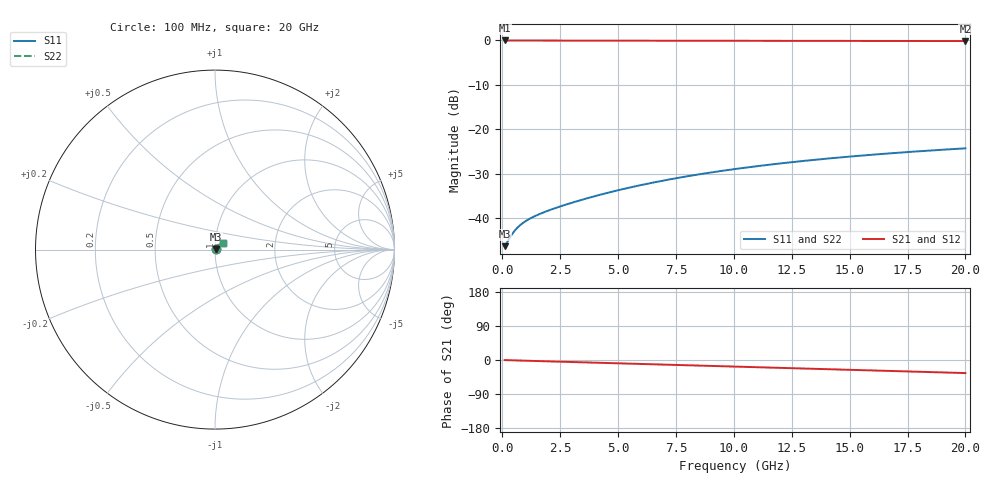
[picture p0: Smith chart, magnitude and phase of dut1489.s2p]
! Touchstone file exported from HFSS 2026.1.0
!  File:  C:/ffzhzh/LocalFiles/Ansys_Project_Files/temp_train_TMRDL_1489_1783167825_18472.aedt
!  Generated:  08:24:56 PM Jul  4, 2026
!  Design:  TMRDL
!  Project:  temp_train_TMRDL_1489_1783167825_18472
! Variables:
!  h_bsmrdl = 2um
!  h_ox = 20um
!  h_rdl = 5um
!  h_sub = 80um
!  h_tmrdl = 2.05um
!  h_tsv = 80um
!  h_via = 3um
!  l_bsmrdl = 300um
!  l_sub = 1002.53um
!  l_tmrdl = 602.53um
!  m_sub = 200um
!  pitch = 28.18um
!  r_tsv = 6um
!  s_tmrdl = 10um
!  w_bsmrdl = 18um
!  w_sub = 500um
!  w_tmrdl = 23.9um
!  x_tsv_center1 = 614.48um
!  x_tsv_center2 = 932.48um
!  x_tsv_center3 = 1558.91um
!  x_tsv_center4 = 1876.91um
!  x_tsv_center5 = 2503.34um
!  x_tsv_center6 = 2821.34um
# GHz S MA R 50.000000
! Terminal data exported
! Port[1] = TM_RDL1_1_T1
! Port[2] = TM_RDL1_1_T2
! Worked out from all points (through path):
!   200 points, 100 MHz to 20 GHz, reference 50 ohm
!   highest |S21| = -0.04 dB at 100 MHz (marker M1); lowest = -0.2 dB at 20 GHz (marker M2)
!   group delay of S21, straight-line fit = 4.78 ps
!   lowest |S11| = -46.3 dB at 100 MHz (marker M3), VSWR 1.01, Z = 50.5 + j0.0919 ohm
!   |S11| at or under -10 dB: start of sweep to end of sweep
!   |S22| runs from -46.3 to -24.3 dB; largest |S21 - S12| = 3.4e-15
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0.1  0.004818 10.9  0.9953 -0.2  0.9953 -0.2  0.004818 10.9
! Gamma 0 0 0 0
! Port Impedance 50 0 50 0
0.2  0.005268 19.4  0.995 -0.4  0.995 -0.4  0.005268 19.4
0.4  0.006447 28.4  0.9944 -0.8  0.9944 -0.8  0.006446 28.4
0.5  0.007013 30.7  0.994 -1.0  0.994 -1.0  0.007013 30.7
0.6  0.00753 32.2  0.9937 -1.2  0.9937 -1.2  0.00753 32.2
0.8  0.008428 34.2  0.9931 -1.5  0.9931 -1.5  0.008428 34.2
1.1  0.009536 36.3  0.9925 -2.0  0.9925 -2.0  0.009536 36.3
1.5  0.01077 38.8  0.9919 -2.7  0.9919 -2.7  0.01077 38.8
2  0.01215 41.7  0.9914 -3.6  0.9914 -3.6  0.01215 41.7
2.7  0.01402 45.2  0.9909 -4.8  0.9909 -4.8  0.01401 45.2
3.5  0.0162 48.4  0.9905 -6.2  0.9905 -6.2  0.01619 48.5
4.3  0.01848 50.8  0.9902 -7.6  0.9902 -7.6  0.01846 50.8
5.1  0.02082 52.3  0.9898 -8.9  0.9898 -8.9  0.0208 52.4
5.9  0.0232 53.2  0.9894 -10.3  0.9894 -10.3  0.02318 53.3
6.8  0.0259 53.7  0.989 -11.9  0.989 -11.9  0.02588 53.8
8.4  0.0307 53.5  0.9881 -14.6  0.9881 -14.6  0.03067 53.6
10.1  0.03571 52.3  0.987 -17.6  0.987 -17.6  0.03566 52.5
11.7  0.04027 50.7  0.986 -20.3  0.986 -20.3  0.04021 50.9
13.4  0.04492 48.6  0.9848 -23.2  0.9848 -23.2  0.04484 48.8
15  0.0491 46.4  0.9837 -26.0  0.9837 -26.0  0.049 46.7
16.7  0.0533 43.9  0.9825 -28.9  0.9825 -28.9  0.05319 44.2
20  0.06078 39.0  0.9802 -34.5  0.9802 -34.5  0.06063 39.3
